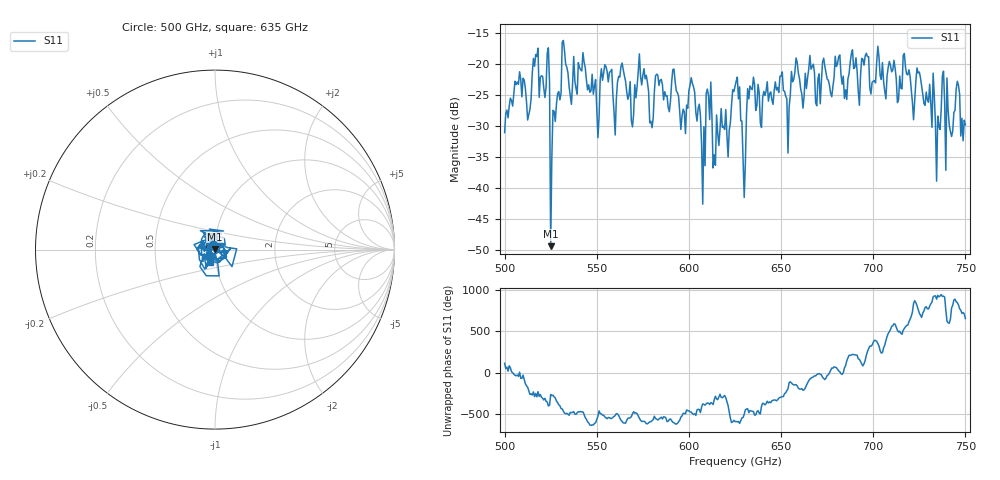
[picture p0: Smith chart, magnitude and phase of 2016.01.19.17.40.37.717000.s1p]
!Created with skrf (http://scikit-rf.org).
# GHz S RI R 50.0
!freq ReS11 ImS11
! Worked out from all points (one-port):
!   401 points, 500 GHz to 750 GHz, reference 50 ohm
!   lowest |S11| = -49.4 dB at 525 GHz (marker M1), VSWR 1.01, Z = 50 + j0.339 ohm
!   |S11| at or under -10 dB: start of sweep to end of sweep
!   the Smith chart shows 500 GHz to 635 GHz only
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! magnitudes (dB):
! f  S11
! 500 GHz  -31.1
! 506.9 GHz  -23.0
! 513.1 GHz  -28.2
! 516.9 GHz  -18.5
! 523.1 GHz  -18.3
! 525 GHz  -49.4
! 526.2 GHz  -27.5
! 531.2 GHz  -16.6
! 550 GHz  -27.3
! 562.5 GHz  -22.2
! 570 GHz  -28.1
! 576.2 GHz  -22.4
! 579.4 GHz  -29.3
! 583.1 GHz  -21.9
! 593.8 GHz  -24.7
! 601.9 GHz  -23.2
! 607.5 GHz  -42.6
! 610.6 GHz  -25.2
! 614.4 GHz  -36.4
! 625 GHz  -23.7
! 629.4 GHz  -35.3
! 634.4 GHz  -24.2
! 656.2 GHz  -22.9
! 687.5 GHz  -19.8
! 718.8 GHz  -21.8
! 735 GHz  -28.4
! 745.6 GHz  -22.8
! 750 GHz  -29.9
